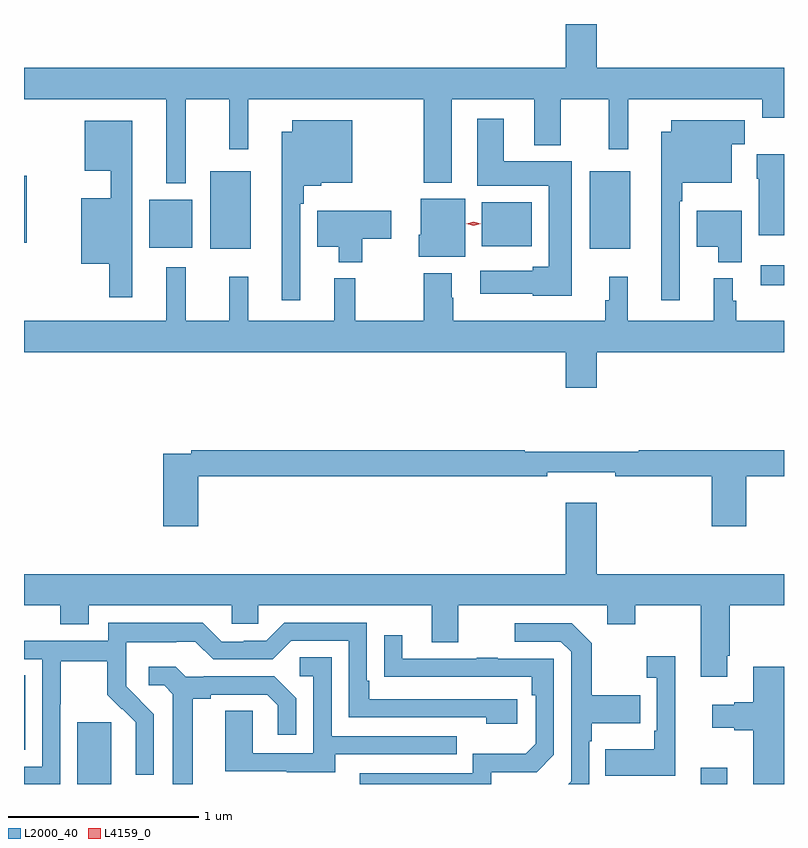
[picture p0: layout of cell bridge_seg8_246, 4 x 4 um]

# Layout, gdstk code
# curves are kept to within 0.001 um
import gdstk
lib = gdstk.Library(unit=1e-6, precision=1e-09)
def R(c, l, rs):  # rectangles x0, y0, x1, y1
    for r in rs: c.add(gdstk.rectangle(r[:2], r[2:], *l))
def P(c, l, *ps):  # polygons
    for p in ps: c.add(gdstk.Polygon(p, *l))
L2000_40 = (2000, 40)
L4159_0 = (4159, 0)

bridge_seg8_246 = lib.new_cell('bridge_seg8_246')
R(bridge_seg8_246, L2000_40, [(282.317,1110.231,282.496,1110.555), (285.599,1110.231,285.739,1110.316), (282.037,1110.41,282.043,1110.803), (285.915,1112.855,286.037,1112.962), (283.016,1113.047,283.231,1113.457), (285.014,1113.047,285.229,1113.457), (282.695,1113.053,282.922,1113.307), (284.447,1113.062,284.71,1113.292), (282.037,1113.08,282.052,1113.433)])
P(bridge_seg8_246, L2000_40, [(282.889,1113.836),(283.117,1113.836),(283.117,1113.573),(283.218,1113.573),(283.218,1113.836),(284.14,1113.836),(284.14,1113.395),(284.287,1113.395),(284.287,1113.836),(284.723,1113.836),(284.723,1113.593),(284.863,1113.593),(284.863,1113.836),(285.115,1113.836),(285.115,1113.573),(285.216,1113.573),(285.216,1113.836),(285.923,1113.836),(285.923,1113.737),(286.037,1113.737),(286.037,1114),(285.052,1114),(285.052,1114.231),(284.888,1114.231),(284.888,1114),(282.037,1114),(282.037,1113.836),(282.785,1113.836),(282.785,1113.392),(282.889,1113.392)],
  [(284.92,1113.508),(284.563,1113.508),(284.563,1113.733),(284.423,1113.733),(284.423,1113.38),(284.798,1113.38),(284.798,1112.953),(284.715,1112.953),(284.715,1112.932),(284.439,1112.932),(284.439,1112.81),(284.715,1112.81),(284.715,1112.801),(284.92,1112.801)],
  [(283.491,1113.284),(283.509,1113.284),(283.509,1113.38),(283.602,1113.38),(283.602,1113.395),(283.765,1113.395),(283.765,1113.724),(283.448,1113.724),(283.448,1113.664),(283.394,1113.664),(283.394,1112.778),(283.491,1112.778)],
  [(285.489,1113.299),(285.502,1113.299),(285.502,1113.395),(285.763,1113.395),(285.763,1113.599),(285.831,1113.599),(285.831,1113.724),(285.443,1113.724),(285.443,1113.664),(285.392,1113.664),(285.392,1112.778),(285.489,1112.778)],
  [(282.607,1113.721),(282.356,1113.721),(282.356,1113.458),(282.493,1113.458),(282.493,1113.313),(282.338,1113.313),(282.338,1112.969),(282.486,1112.969),(282.486,1112.793),(282.607,1112.793)],
  [(286.037,1113.546),(285.893,1113.546),(285.893,1113.417),(285.905,1113.417),(285.905,1113.12),(286.037,1113.12)],
  [(284.359,1113.31),(284.126,1113.31),(284.126,1113.123),(284.114,1113.123),(284.114,1113.005),(284.359,1113.005)],
  [(283.816,1113.1),(283.969,1113.1),(283.969,1113.247),(283.581,1113.247),(283.581,1113.059),(283.694,1113.059),(283.694,1112.978),(283.816,1112.978)],
  [(285.814,1113.247),(285.578,1113.247),(285.578,1113.059),(285.692,1113.059),(285.692,1112.978),(285.814,1112.978)],
  [(285.052,1112.504),(286.037,1112.504),(286.037,1112.668),(285.785,1112.668),(285.785,1112.775),(285.766,1112.775),(285.766,1112.893),(285.668,1112.893),(285.668,1112.668),(285.215,1112.668),(285.215,1112.902),(285.116,1112.902),(285.116,1112.777),(285.097,1112.777),(285.097,1112.668),(284.295,1112.668),(284.295,1112.789),(284.287,1112.789),(284.287,1112.92),(284.14,1112.92),(284.14,1112.668),(283.78,1112.668),(283.78,1112.893),(283.67,1112.893),(283.67,1112.668),(283.217,1112.668),(283.217,1112.902),(283.117,1112.902),(283.117,1112.668),(282.889,1112.668),(282.889,1112.95),(282.785,1112.95),(282.785,1112.668),(282.037,1112.668),(282.037,1112.504),(284.888,1112.504),(284.888,1112.316),(285.052,1112.316)],
  [(282.953,1111.852),(284.792,1111.852),(284.792,1111.871),(285.148,1111.871),(285.148,1111.852),(285.656,1111.852),(285.656,1111.587),(285.839,1111.587),(285.839,1111.852),(286.037,1111.852),(286.037,1111.988),(285.272,1111.988),(285.272,1111.981),(284.672,1111.981),(284.672,1111.988),(282.916,1111.988),(282.916,1111.968),(282.77,1111.968),(282.77,1111.587),(282.953,1111.587)],
  [(285.739,1110.907),(285.752,1110.907),(285.752,1111.172),(286.037,1111.172),(286.037,1111.336),(285.052,1111.336),(285.052,1111.711),(284.888,1111.711),(284.888,1111.336),(282.037,1111.336),(282.037,1111.172),(282.227,1111.172),(282.227,1111.073),(282.379,1111.073),(282.379,1111.172),(283.131,1111.172),(283.131,1111.074),(283.269,1111.074),(283.269,1111.172),(284.183,1111.172),(284.183,1110.978),(284.323,1110.978),(284.323,1111.172),(285.107,1111.172),(285.107,1111.073),(285.255,1111.073),(285.255,1111.172),(285.599,1111.172),(285.599,1110.795),(285.739,1110.795)],
  [(282.228,1110.652),(282.231,1110.652),(282.231,1110.876),(282.475,1110.876),(282.475,1110.701),(282.552,1110.624),(282.555,1110.627),(282.626,1110.557),(282.626,1110.434),(282.624,1110.434),(282.624,1110.28),(282.72,1110.28),(282.72,1110.598),(282.574,1110.746),(282.574,1110.843),(282.576,1110.843),(282.576,1110.977),(282.839,1110.977),(282.839,1110.981),(282.939,1110.981),(283.032,1110.888),(283.347,1110.888),(283.443,1110.984),(283.746,1110.984),(283.746,1110.582),(284.471,1110.582),(284.471,1110.548),(284.632,1110.548),(284.632,1110.678),(283.855,1110.678),(283.855,1110.775),(283.842,1110.775),(283.842,1111.08),(283.407,1111.08),(283.311,1110.984),(283.193,1110.984),(283.193,1110.981),(283.077,1110.981),(282.977,1111.081),(282.48,1111.081),(282.48,1110.984),(282.037,1110.984),(282.037,1110.888),(282.132,1110.888),(282.132,1110.321),(282.037,1110.321),(282.037,1110.231),(282.228,1110.231)],
  [(285.012,1110.455),(285.025,1110.455),(285.025,1110.551),(285.281,1110.551),(285.281,1110.699),(285.025,1110.699),(285.025,1110.971),(284.919,1111.077),(284.619,1111.077),(284.619,1110.981),(284.862,1110.981),(284.916,1110.927),(284.916,1110.246),(284.901,1110.231),(285.012,1110.231)],
  [(284.496,1110.294),(284.736,1110.294),(284.826,1110.384),(284.826,1110.891),(284.531,1110.891),(284.531,1110.896),(284.419,1110.896),(284.419,1110.891),(284.029,1110.891),(284.029,1111.015),(283.933,1111.015),(283.933,1110.796),(284.71,1110.795),(284.71,1110.698),(284.73,1110.698),(284.73,1110.444),(284.677,1110.391),(284.4,1110.391),(284.4,1110.288),(283.805,1110.288),(283.805,1110.231),(284.496,1110.231)],
  [(285.464,1110.904),(285.315,1110.904),(285.315,1110.791),(285.366,1110.791),(285.366,1110.511),(285.354,1110.511),(285.354,1110.415),(285.097,1110.415),(285.097,1110.275),(285.464,1110.275)],
  [(283.675,1110.387),(284.315,1110.387),(284.315,1110.483),(283.656,1110.483),(283.656,1110.899),(283.488,1110.899),(283.488,1110.798),(283.56,1110.798),(283.56,1110.393),(283.242,1110.393),(283.242,1110.617),(283.097,1110.617),(283.097,1110.297),(283.421,1110.297),(283.421,1110.293),(283.675,1110.293)],
  [(282.925,1110.68),(283.021,1110.68),(283.021,1110.702),(283.316,1110.702),(283.373,1110.645),(283.373,1110.489),(283.47,1110.489),(283.47,1110.682),(283.354,1110.798),(282.982,1110.798),(282.982,1110.795),(282.888,1110.795),(282.836,1110.847),(282.693,1110.847),(282.693,1110.75),(282.774,1110.75),(282.821,1110.703),(282.821,1110.231),(282.925,1110.231)],
  [(286.037,1110.847),(285.875,1110.847),(285.875,1110.662),(285.776,1110.662),(285.776,1110.649),(285.66,1110.649),(285.66,1110.527),(285.776,1110.527),(285.776,1110.515),(285.875,1110.515),(285.875,1110.231),(286.037,1110.231)])
P(bridge_seg8_246, L4159_0, [(284.404,1113.17),(284.365,1113.18),(284.365,1113.18),(284.365,1113.18),(284.404,1113.19),(284.442,1113.18),(284.442,1113.18),(284.442,1113.18)])

lib.write_gds('bridge_seg8_246.gds')
